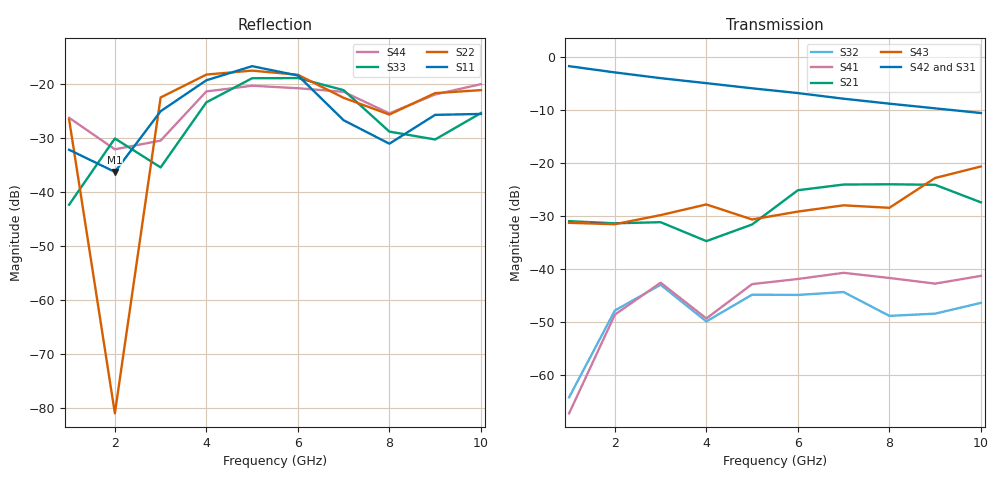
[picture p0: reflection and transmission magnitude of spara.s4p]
! Created Thu Jan 22 18:34:28 2015
# hz S ma R 50
! 4 Port Network Data from SP1.SP block
! freq  magS11  angS11  magS12  angS12  magS13  angS13  magS14  angS14
!  magS21  angS21  magS22  angS22  magS23  angS23  magS24  angS24
!  magS31  angS31  magS32  angS32  magS33  angS33  magS34  angS34
!  magS41  angS41  magS42  angS42  magS43  angS43  magS44  angS44
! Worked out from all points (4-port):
!   10 points, 1 GHz to 10 GHz, reference 50 ohm
!   strongest paths, dB at 1 GHz, 3 GHz, 6 GHz, 8 GHz, 10 GHz:
!     S42: -1.7, -3.9, -6.7, -8.7, -10.5
!     S31: -1.6, -3.9, -6.8, -8.7, -10.4
!     S43: -31.3, -29.8, -29.1, -28.4, -20.6
!     S21: -30.9, -31.1, -25.1, -24.0, -27.4
!     S41: -67.3, -42.6, -41.9, -41.7, -41.3
!     S32: -64.2, -43.0, -44.9, -48.8, -46.4
!   lowest |S11| = -36.3 dB at 2 GHz (marker M1), VSWR 1.03, Z = 50.2 - j1.53 ohm
!   |S11| at or under -10 dB: start of sweep to end of sweep
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1e9  0.02467 -76.6  0.02823 19.1  0.8272 108.8  0.0004261 70.0
     0.02836 19.3  0.04705 -128.5  0.0007852 80.7  0.8258 108.9
     0.8273 108.8  0.000615 134.4  0.007647 -142.8  0.0274 37.7
     0.0004339 161.6  0.8258 108.9  0.02736 37.9  0.04878 -132.4
2e9  0.01539 -83.3  0.02694 10.8  0.7201 -134.7  0.003286 -140.3
     0.02707 10.6  8.947e-05 113.4  0.003598 -138.0  0.7191 -134.1
     0.7216 -134.7  0.00406 -133.1  0.0314 -57.4  0.02664 26.7
     0.003711 -136.3  0.7209 -134.2  0.02653 26.5  0.0249 -87.6
3e9  0.05609 -126.9  0.02783 23.7  0.6361 -15.9  0.006613 -122.9
     0.02773 23.9  0.07518 -110.8  0.005848 -102.6  0.6374 -15.2
     0.635 -15.9  0.007109 -91.0  0.01693 -103.1  0.03263 37.5
     0.007443 -109.9  0.6364 -15.2  0.03235 37.5  0.02999 -66.6
4e9  0.1085 -143.1  0.0185 -21.3  0.5745 103.6  0.004731 -0.8
     0.01837 -21.3  0.1226 -148.3  0.004433 11.6  0.5743 104.3
     0.5708 103.9  0.003203 13.7  0.06782 -106.5  0.04102 12.6
     0.003415 -3.0  0.5706 104.7  0.04079 12.8  0.08558 -115.2
5e9  0.1466 174.1  0.02657 124.8  0.5117 -135.9  0.007405 112.8
     0.02639 125.1  0.1334 163.5  0.005801 132.3  0.5127 -134.8
     0.5094 -136.4  0.00573 137.3  0.1134 -133.0  0.0289 5.7
     0.007213 118.0  0.5103 -135.2  0.02942 5.5  0.09659 -148.8
6e9  0.1202 126.7  0.05562 85.7  0.4496 -14.5  0.009051 -158.5
     0.05557 86.1  0.122 117.6  0.006389 -143.7  0.4506 -13.3
     0.4589 -14.7  0.005699 -135.5  0.1137 -171.4  0.0353 41.0
     0.008061 -154.7  0.46 -13.5  0.03492 40.7  0.09162 -178.5
1e10  0.05294 133.4  0.04227 21.2  0.2998 113.6  0.008051 -81.5
      0.0427 20.8  0.08799 130.4  0.003841 -91.1  0.2967 115.6
      0.3011 113.6  0.004795 -39.4  0.05398 -129.1  0.09329 52.5
      0.008624 -56.7  0.2982 115.6  0.09315 53.2  0.09988 -122.3
